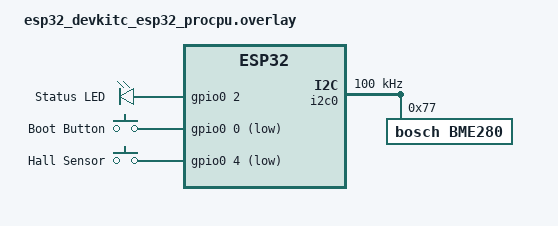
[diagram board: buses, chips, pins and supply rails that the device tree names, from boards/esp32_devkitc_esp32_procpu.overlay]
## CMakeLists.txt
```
cmake_minimum_required(VERSION 3.20)
find_package(Zephyr REQUIRED HINTS $ENV{ZEPHYR_BASE})
project(sensor)

target_sources(app PRIVATE
    src/main.c
    src/sensors/bme280.c
    src/sensors/climate_logic.c
)

# The emulated BME280 needs the emulation framework (CONFIG_EMUL, native_sim only).
# On a real board it is not compiled and the same code talks to a real chip.
target_sources_ifdef(CONFIG_EMUL app PRIVATE src/sensors/bme280_emul.c)
```

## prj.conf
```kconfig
CONFIG_PRINTK=y

CONFIG_I2C=y
CONFIG_SENSOR=y
CONFIG_BME280=y
```

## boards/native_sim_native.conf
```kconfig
# Puts the console on the terminal that launched zephyr.exe.
CONFIG_UART_NATIVE_PTY_0_ON_STDINOUT=y

# Alternative: console on its own pseudo-terminal
# CONFIG_UART_NATIVE_PTY_0_ON_OWN_PTY=y

# Enables the emulation framework. CONFIG_I2C_EMUL then defaults to y, since
# native_sim.dts already declares an i2c-emul-controller.
CONFIG_EMUL=y
```

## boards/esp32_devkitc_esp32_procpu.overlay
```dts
/ {
    /* LED and buttons for the original ESP32 DevKitC. */
    leds {
        compatible = "gpio-leds";
        led0: led_0 {
            gpios = <&gpio0 2 GPIO_ACTIVE_HIGH>; /* Onboard LED */
            label = "Status LED";
        };
    };

    buttons {
        compatible = "gpio-keys";
        button0: button_0 {
            gpios = <&gpio0 0 (GPIO_PULL_UP | GPIO_ACTIVE_LOW)>; /* Onboard BOOT button */
            label = "Boot Button";
        };
        button1: button_1 {
            gpios = <&gpio0 4 (GPIO_PULL_UP | GPIO_ACTIVE_LOW)>; /* External pin */
            label = "Hall Sensor";
        };
    };

    /* The app binds led0 and sw0; hal0 is not used by it. */
    aliases {
        led0 = &led0;
        sw0 = &button0;
        hal0 = &button1;
    };
};

&i2c0 {
    status = "okay";
    clock-frequency = <I2C_BITRATE_STANDARD>;
    pinctrl-0 = <&i2c0_default>;
    pinctrl-names = "default";

    bme280: bme280@77 {
        compatible = "bosch,bme280";
        reg = <0x77>;
        status = "okay";
    };
};
```

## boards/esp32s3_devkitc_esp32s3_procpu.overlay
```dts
/ {
        /* LED and button for the ESP32-S3 DevKitC. */
        leds {
            compatible = "gpio-leds";
            led0: led_0 {
                gpios = <&gpio 14 GPIO_ACTIVE_HIGH>; /* External LED */
                label = "Status LED";
            };
        };

        buttons {
            compatible = "gpio-keys";
            button0: button_0 {
                gpios = <&gpio 0 (GPIO_PULL_UP | GPIO_ACTIVE_LOW)>; /* Onboard BOOT button */
                label = "Boot Button";
            };
        };

        aliases {
            led0 = &led0;
            sw0 = &button0;
        };
};

&i2c0 {
    status = "okay";
    clock-frequency = <I2C_BITRATE_STANDARD>;
    pinctrl-0 = <&i2c0_default>;
    pinctrl-names = "default";

    bme280: bme280@77 {
        compatible = "bosch,bme280";
        reg = <0x77>;
        status = "okay";
    };
};
```

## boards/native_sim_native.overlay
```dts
/* native_sim already has an emulated I2C controller (i2c0), so only the BME280
 * node is added. Label and address match the board overlays, so
 * DT_NODELABEL(bme280) in src/sensors/bme280.c resolves on every target.
 */
&i2c0 {
    status = "okay";

    bme280: bme280@77 {
        compatible = "bosch,bme280";
        reg = <0x77>;
        status = "okay";
    };
};
```

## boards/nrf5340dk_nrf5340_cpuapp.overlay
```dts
/ {
    aliases {
        /* Empty: the board devicetree already sets led0 = &led0 and sw0 = &button0. */
    };
};

&i2c1 {
    status = "okay";
    clock-frequency = <I2C_BITRATE_STANDARD>;

    bme280: bme280@77 {
        compatible = "bosch,bme280";
        reg = <0x77>;
        status = "okay";
    };
};
```

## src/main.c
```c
#include <zephyr/kernel.h>
#include <zephyr/sys/printk.h>

#include "sensors/bme280.h"

int main(void)
{
	printk("System Started\n");

	bme280_start();

	while (1) {
		k_sleep(K_FOREVER);
	}

	return 0;
}
```
